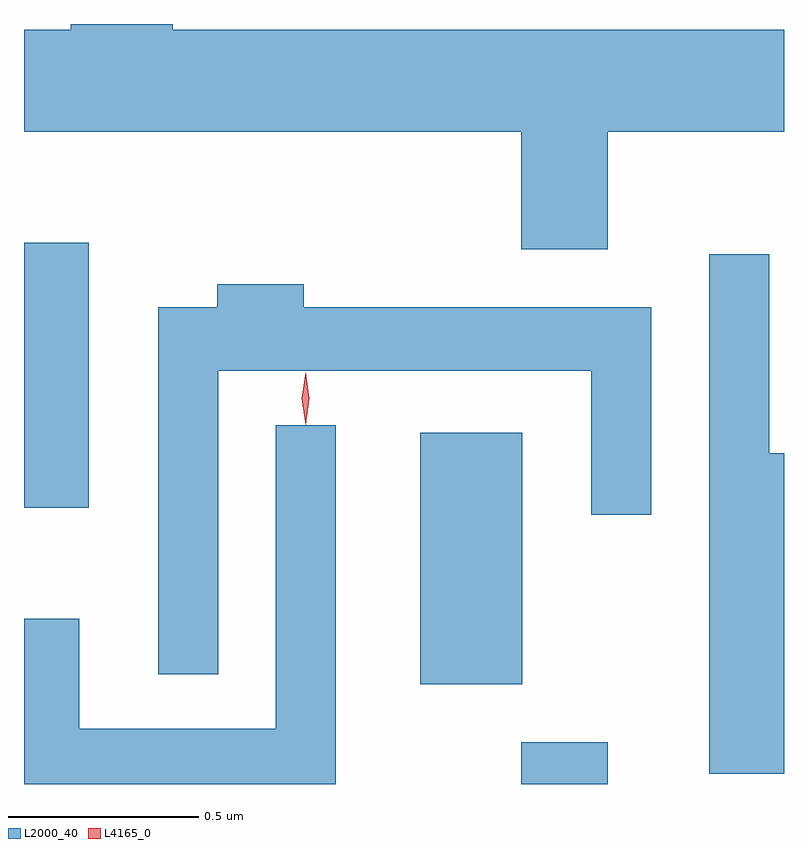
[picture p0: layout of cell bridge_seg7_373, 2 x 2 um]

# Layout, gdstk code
import gdstk
lib = gdstk.Library(unit=1e-6, precision=1e-09)
def R(c, l, rs):  # rectangles x0, y0, x1, y1
    for r in rs: c.add(gdstk.rectangle(r[:2], r[2:], *l))
def P(c, l, *ps):  # polygons
    for p in ps: c.add(gdstk.Polygon(p, *l))
L2000_40 = (2000, 40)
L4165_0 = (4165, 0)

bridge_seg7_373 = lib.new_cell('bridge_seg7_373')
R(bridge_seg7_373, L2000_40, [(1175.301,1759.219,1175.529,1759.329), (1175.036,1759.481,1175.304,1760.144), (1173.993,1759.946,1174.164,1760.644)])
P(bridge_seg7_373, L2000_40, [(1175.529,1760.936),(1175.993,1760.936),(1175.993,1761.204),(1174.384,1761.204),(1174.384,1761.219),(1174.116,1761.219),(1174.116,1761.204),(1173.993,1761.204),(1173.993,1760.936),(1175.301,1760.936),(1175.301,1760.626),(1175.529,1760.626)],
  [(1175.993,1760.089),(1175.954,1760.089),(1175.954,1760.613),(1175.796,1760.613),(1175.796,1759.246),(1175.993,1759.246)],
  [(1174.504,1760.306),(1175.486,1760.306),(1175.486,1759.928),(1175.644,1759.928),(1175.644,1760.474),(1174.729,1760.474),(1174.729,1760.534),(1174.501,1760.534),(1174.501,1760.474),(1174.346,1760.474),(1174.346,1759.508),(1174.504,1759.508)],
  [(1174.814,1760.163),(1174.656,1760.163),(1174.656,1759.364),(1174.139,1759.364),(1174.139,1759.654),(1173.993,1759.654),(1173.993,1759.219),(1174.814,1759.219)])
P(bridge_seg7_373, L4165_0, [(1174.734,1760.164),(1174.734,1760.164),(1174.724,1760.233),(1174.734,1760.302),(1174.734,1760.303),(1174.735,1760.302),(1174.744,1760.233),(1174.735,1760.164)],
  [(1174.734,1760.167),(1174.734,1760.167),(1174.724,1760.234),(1174.734,1760.3),(1174.734,1760.3),(1174.734,1760.3),(1174.744,1760.234),(1174.735,1760.167)])

lib.write_gds('bridge_seg7_373.gds')
